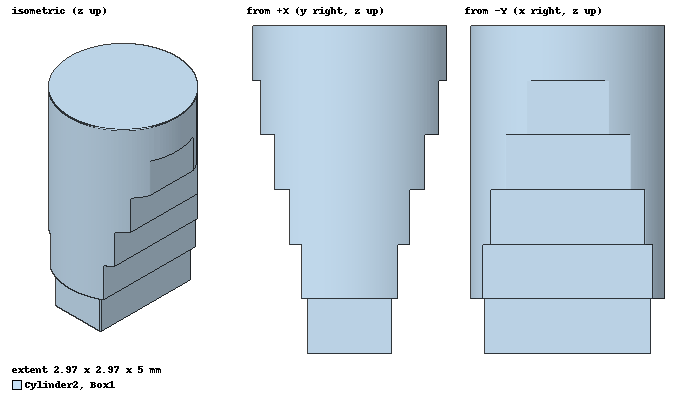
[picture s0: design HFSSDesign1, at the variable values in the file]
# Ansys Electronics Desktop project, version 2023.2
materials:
  vacuum: permittivity=1

design HFSSDesign1 (HFSS, HFSS Terminal Network, model units mm)
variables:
  speedoflight = 300000000m_per_sec
  r90GHz = (2.97/2) mm
  wr10x = 2.54mm
  wr10y = 1.27mm
  lambda4 = (speedoflight/90e6/4) mm
  s1y = 0.1mm
  s2y = 0.276mm
  s3y = 0.508mm
  s4y = 0.716mm
  s1x = 0.215mm
  s2x = 0.215mm
  s3x = 0.215mm
  s4x = 0.215mm
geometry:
  Box1 [vacuum] = box(corner=(-wr10x/2, -wr10y/2, 0mm), size=(wr10x, wr10y, lambda4))
  Cylinder1 = cylinder(axis=Z, base_centre=(0mm, 0mm, lambda4), radius=r90GHz, height=lambda4*5)
  Box2 = box(corner=(-wr10x/2-s1x, -wr10y/2-s1y, lambda4), size=(wr10x+s1x*2, wr10y+s1y*2, lambda4))
  Box3 = box(corner=(-wr10x/2-s2x, -wr10y/2-s2y, lambda4*2), size=(wr10x+s2x*2, wr10y+s2y*2, lambda4))
  Box4 = box(corner=(-wr10x/2-s3x, -wr10y/2-s3y, lambda4*3), size=(wr10x+s3x*2, wr10y+s3y*2, lambda4))
  Box5 = box(corner=(-wr10x/2-s4x, -wr10y/2-s4y, lambda4*4), size=(wr10x+s4x*2, wr10y+s4y*2, lambda4))
  Cylinder2 [vacuum] = cylinder(axis=Z, base_centre=(0mm, 0mm, 5*lambda4), radius=r90GHz, height=lambda4)
  Cylinder2.unite(Box5, Box4, Box3, Box2)
  Cylinder2.intersect(Cylinder1)
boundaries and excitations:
  C: Wave Port Faces=Cylinder2.face(+z end) WavePortType=Modal NumModes=5 UseLineModeAlignment Modes{Mode1{IntLine{(0, 0, 5) -> (0, 1.485, 5)} CharImp=Zpi} Mode2{IntLine{(0, 0, 5) -> (1.485, 0, 5)} CharImp=Zpi} Mode3{CharImp=Zpi} Mode4{CharImp=Zpi} Mode5{CharImp=Zpi}}
  R: Wave Port Faces=Box1.face(-z) WavePortType=Modal NumModes=5 UseLineModeAlignment Modes{Mode1{IntLine{(0, 0, 0) -> (0, 0.635, 0)} CharImp=Zpi} Mode2{IntLine{(0, 0, 0) -> (-1.27, 0, 0)} CharImp=Zpi} Mode3{CharImp=Zpi} Mode4{CharImp=Zpi} Mode5{CharImp=Zpi}}
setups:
  Setup1: HfssDriven Frequency=110GHz MaxDeltaS=0.02 MaximumPasses=20 MinimumPasses=1 MinimumConvergedPasses=1 PercentRefinement=30 BasisOrder=1 PortAccuracy=2 DrivenSolverType="Direct Solver"
    sweep Sweep: 75GHz to 110GHz step 0.275GHz; Type=Interpolating SaveFields InterpTolerance=0.5 InterpMaxSolns=250 PassivityErrorTolerance=0.0001
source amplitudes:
  C:1: 1V 0deg
  C:2..C:5, R:1..R:5: 0V 0deg
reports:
  S Parameter Plot 1: dB(S(C:1,C:1)), dB(S(R:1,R:1)), dB(S(C:1,R:1)), dB(S(R:1,C:2)) vs Freq on Setup1 : Sweep
